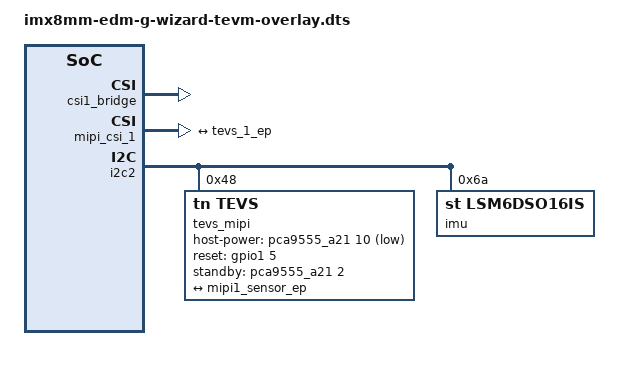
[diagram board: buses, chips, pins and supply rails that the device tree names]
// SPDX-License-Identifier: (GPL-2.0+ OR MIT)
/*
 * Copyright 2026 TechNexion Ltd.
 *
 * Author: Nian Yang <nian.yang@technexion.com>
 *
 */

/dts-v1/;
/plugin/;

#include <dt-bindings/interrupt-controller/irq.h>
#include <dt-bindings/clock/imx8mm-clock.h>
#include <dt-bindings/gpio/gpio.h>

/ {
	fragment@0 {
		target = <&csi1_bridge>;
		__overlay__ {
			status = "okay";
		};
	};

	fragment@1 {
		target = <&mipi_csi_1>;
		__overlay__ {
			status = "okay";
			#address-cells = <1>;
			#size-cells = <0>;

			port {
				mipi1_sensor_ep: endpoint@1 {
					remote-endpoint = <&tevs_1_ep>;
					data-lanes = <2>;
					csis-hs-settle = <19>;
					csis-clk-settle = <2>;
					csis-wclk;
				};
			};
		};
	};

	fragment@2 {
		target = <&i2c2>;
		__overlay__ {
			#address-cells = <1>;
			#size-cells = <0>;
			status = "okay";

			tevs_mipi: tevs_mipi@48 {
				compatible = "tn,tevs";
				reg = <0x48>;
				status = "okay";

				pinctrl-names = "default";
				pinctrl-0 = <&pinctrl_csi_rst>;
				host-power-gpios = <&pca9555_a21 10 GPIO_ACTIVE_LOW>;
				reset-gpios = <&gpio1 5 GPIO_ACTIVE_HIGH>;
				standby-gpios = <&pca9555_a21 2 GPIO_ACTIVE_HIGH>;

				supports-over-4k-res;

				port {
					tevs_1_ep: endpoint {
						remote-endpoint = <&mipi1_sensor_ep>;
						data-lanes = <1 2>;
						clock-lanes = <0>;
						clock-noncontinuous;
						link-frequencies = /bits/ 64 <400000000>;
					};
				};
			};

			imu: lsm6dsm@6a {
				compatible = "st,lsm6dso16is";
				reg = <0x6a>;
			};
		};
	};
};
